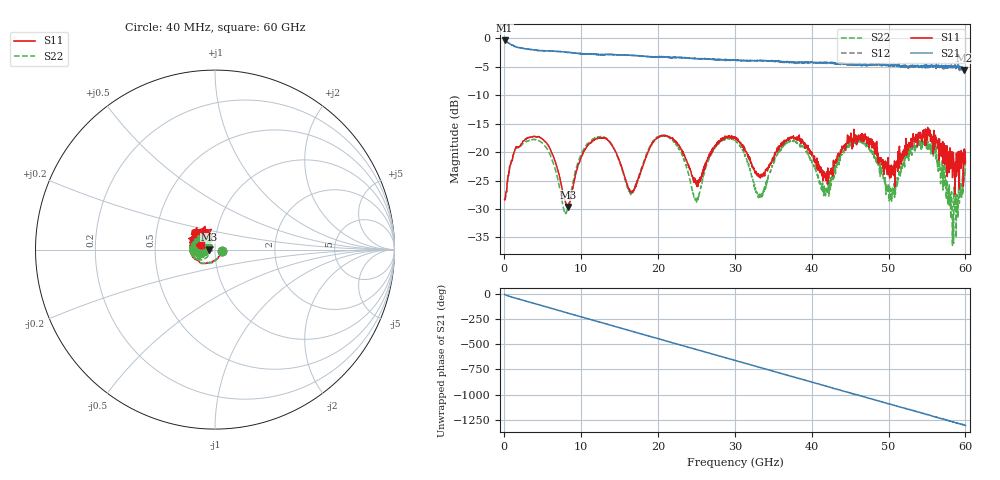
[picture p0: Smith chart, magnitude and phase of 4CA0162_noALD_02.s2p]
! File created by 'SoftPlot +Plus+ Measurement Management Software'
! SoftPlot +Plus+ Measurement Management Software
! Start 40.000000 MHz  Stop 60.000000 GHz  Points 1601
# MHZ S RI R 50
! S-Parameter data, F S11 S21 S12 S22
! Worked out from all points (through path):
!   1601 points, 40 MHz to 60 GHz, reference 50 ohm
!   highest |S21| = -0.36 dB at 40 MHz (marker M1); lowest = -5.6 dB at 59.85 GHz (marker M2)
!   group delay of S21, straight-line fit = 60.3 ps
!   lowest |S11| = -29.7 dB at 8.322 GHz (marker M3), VSWR 1.07, Z = 46.8 - j0.00534 ohm
!   |S11| at or under -10 dB: start of sweep to end of sweep
!   |S22| runs from -36.6 to -17.0 dB; largest |S21 - S12| = 0.055
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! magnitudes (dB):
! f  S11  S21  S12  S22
! 40 MHz  -28.4  -0.4  -0.4  -28.3
! 1.464 GHz  -19.3  -1.5  -1.4  -19.4
! 4.237 GHz  -17.3  -2.1  -2.1  -17.9
! 8.322 GHz  -29.7  -2.4  -2.5  -29.5
! 10.05 GHz  -20.8  -2.7  -2.7  -20.3
! 13.31 GHz  -17.7  -2.8  -2.8  -17.6
! 16.6 GHz  -26.9  -3.0  -3.0  -27.0
! 20.05 GHz  -17.4  -3.3  -3.3  -17.3
! 24.96 GHz  -25.4  -3.6  -3.6  -28.3
! 27.32 GHz  -19.2  -3.6  -3.7  -19.3
! 30.02 GHz  -17.4  -3.8  -3.8  -17.9
! 33.21 GHz  -24.1  -3.9  -3.9  -28.0
! 36.58 GHz  -18.1  -4.2  -4.2  -18.5
! 40.03 GHz  -20.7  -4.2  -4.3  -21.9
! 41.82 GHz  -25.0  -4.3  -4.3  -27.1
! 46.51 GHz  -16.8  -4.6  -4.6  -17.9
! 50.03 GHz  -23.7  -4.8  -4.7  -28.1
! 53.85 GHz  -17.2  -4.7  -5.1  -18.3
! 55.95 GHz  -19.6  -4.9  -4.8  -18.5
! 58.54 GHz  -22.9  -5.1  -5.1  -26.1
! 59.85 GHz  -20.0  -5.6  -5.2  -24.9
! 60 GHz  -21.8  -5.2  -5.6  -21.1
